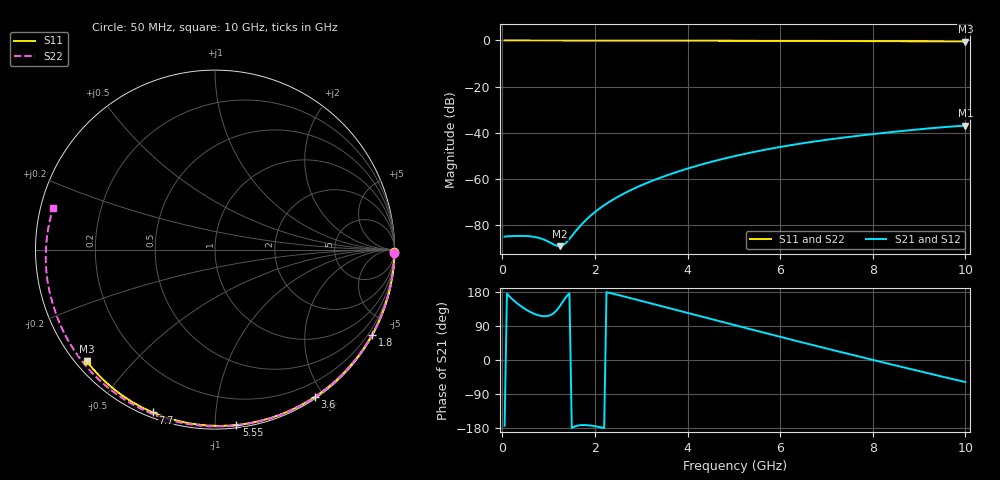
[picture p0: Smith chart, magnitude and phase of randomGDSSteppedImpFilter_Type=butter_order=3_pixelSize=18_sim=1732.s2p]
! freq	dB(S11)	phase(S11)	dB(S12)	phase(S12)
!  dB(S21)	phase(S21)	dB(S22)	phase(S22)
!S-par simulation data
#  GHz  S  DB  R 50
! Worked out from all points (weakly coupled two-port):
!   200 points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, 50 MHz to 10 GHz, reference 50 ohm
!   highest |S21| = -36.82 dB at 10 GHz (marker M1); lowest = -89.0 dB at 1.25 GHz (marker M2)
!   lowest |S11| = -0.5 dB at 10 GHz (marker M3), VSWR 36.88, Z = 1.55 - j18.7 ohm
!   |S11| at or under -10 dB: nowhere
!   |S22| runs from -0.6 to 0.0 dB; largest |S21 - S12| = 0
!   S11 on the Smith chart (normalised r, x): 50 MHz: open; 1.8 GHz: 0.03, -3.93; 3.6 GHz: 0.02, -1.89; 5.55 GHz: 0.02, -1.13; 7.7 GHz: 0.02, -0.69; 10 GHz: 0.03, -0.37
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0.05  -0.00 -0.8  -84.88 -173.6  -84.88 -173.6  -0.00 -1.1
0.65  -0.01 -10.4  -84.84 124.0  -84.84 124.0  -0.01 -14.3
1.25  -0.02 -19.9  -88.99 143.6  -88.99 143.6  -0.03 -27.3
1.65  -0.03 -26.2  -80.96 -172.6  -80.96 -172.6  -0.05 -35.8
1.7  -0.03 -27.0  -79.85 -171.9  -79.85 -171.9  -0.05 -36.8
1.75  -0.04 -27.8  -78.79 -171.6  -78.79 -171.6  -0.05 -37.9
1.8  -0.04 -28.5  -77.79 -171.8  -77.79 -171.8  -0.05 -38.9
2.1  -0.04 -33.2  -72.71 -176.9  -72.71 -176.9  -0.06 -45.2
2.45  -0.05 -38.5  -68.16 173.2  -68.16 173.2  -0.07 -52.4
2.9  -0.06 -45.4  -63.56 159.2  -63.56 159.2  -0.08 -61.6
3.4  -0.07 -52.8  -59.47 143.3  -59.47 143.3  -0.09 -71.5
3.6  -0.08 -55.7  -58.03 136.9  -58.03 136.9  -0.10 -75.4
4.3  -0.09 -65.8  -53.67 114.7  -53.67 114.7  -0.13 -88.8
5.05  -0.12 -76.3  -49.88 91.0  -49.88 91.0  -0.16 -102.7
5.55  -0.14 -83.1  -47.76 75.3  -47.76 75.3  -0.18 -111.8
6.1  -0.16 -90.4  -45.73 58.1  -45.73 58.1  -0.22 -121.7
6.7  -0.19 -98.2  -43.83 39.5  -43.83 39.5  -0.26 -132.3
7.7  -0.25 -110.9  -41.20 9.2  -41.20 9.2  -0.35 -150.2
8.35  -0.30 -118.9  -39.74 -10.1  -39.74 -10.1  -0.42 -161.9
8.75  -0.34 -123.8  -38.92 -22.0  -38.92 -22.0  -0.45 -169.4
9.2  -0.38 -129.2  -38.07 -35.2  -38.07 -35.2  -0.51 -178.1
10  -0.47 -138.9  -36.82 -58.2  -36.82 -58.2  -0.62 165.7
